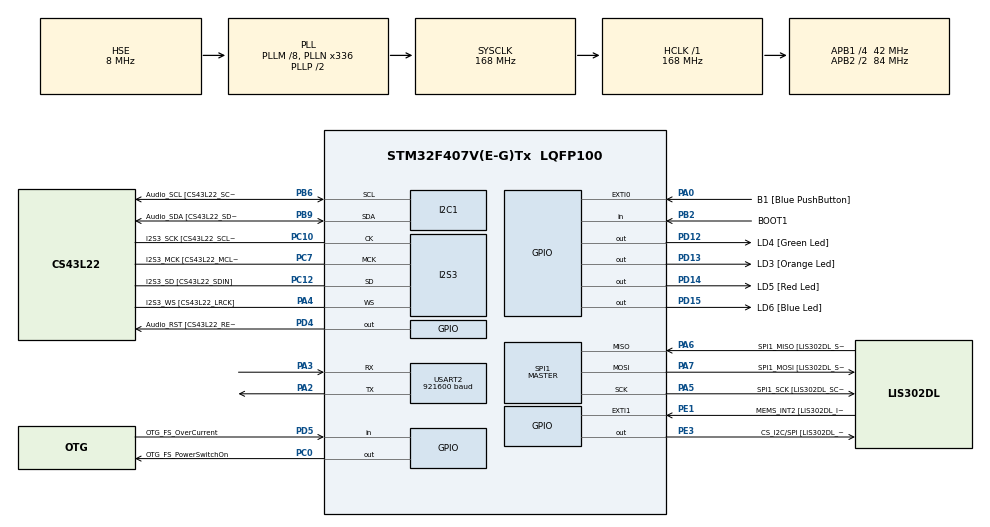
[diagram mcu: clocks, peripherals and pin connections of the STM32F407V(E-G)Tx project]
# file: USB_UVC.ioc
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I2S3.AudioFreq-Half_Duplex_Master=I2S_AUDIOFREQ_96K
I2S3.ErrorAudioFreq=-2.34 %
I2S3.ErrorAudioFreq-Half_Duplex_Master=0.8 %
I2S3.FullDuplexMode=I2S_FULLDUPLEXMODE_DISABLE
I2S3.Instance=SPI$Index
I2S3.RealAudioFreq=93.75 KHz
I2S3.RealAudioFreq-Half_Duplex_Master=96.774 KHz
I2S3.VirtualMode=I2S_MODE_MASTER
Mcu.Family=STM32F4
Mcu.Name=STM32F407V(E-G)Tx
Mcu.Package=LQFP100
NVIC.PriorityGroup=NVIC_PRIORITYGROUP_4
PA0-WKUP.GPIO_Label=B1 [Blue PushButton]
PA0-WKUP.GPIO_ModeDefaultEXTI=GPIO_MODE_EVT_RISING
PA0-WKUP.GPIO_PuPd=GPIO_NOPULL
PA0-WKUP.Signal=GPXTI0
PA10.GPIO_Label=OTG_FS_ID
PA10.GPIO_Mode=GPIO_MODE_AF_PP
PA10.GPIO_PuPd=GPIO_NOPULL
PA10.GPIO_Speed=GPIO_SPEED_FREQ_LOW
PA10.Signal=USB_OTG_FS_ID
PA11.GPIO_Label=OTG_FS_DM
PA11.GPIO_Mode=GPIO_MODE_AF_PP
PA11.GPIO_PuPd=GPIO_NOPULL
PA11.GPIO_Speed=GPIO_SPEED_FREQ_LOW
PA11.Signal=USB_OTG_FS_DM
PA12.GPIO_Label=OTG_FS_DP
PA12.GPIO_Mode=GPIO_MODE_AF_PP
PA12.GPIO_PuPd=GPIO_NOPULL
PA12.GPIO_Speed=GPIO_SPEED_FREQ_LOW
PA12.Signal=USB_OTG_FS_DP
PA13.GPIO_Label=SWDIO
PA13.Mode=Serial_Wire
PA13.Signal=SYS_JTMS-SWDIO
PA14.GPIO_Label=SWCLK
PA14.Mode=Serial_Wire
PA14.Signal=SYS_JTCK-SWCLK
PA2.Mode=Asynchronous
PA2.Signal=USART2_TX
PA3.Mode=Asynchronous
PA3.Signal=USART2_RX
PA4.GPIO_Label=I2S3_WS [CS43L22_LRCK]
PA4.GPIO_Mode=GPIO_MODE_AF_PP
PA4.GPIO_PuPd=GPIO_NOPULL
PA4.GPIO_Speed=GPIO_SPEED_FREQ_LOW
PA4.Mode=Half_Duplex_Master
PA4.Signal=I2S3_WS
PA5.GPIO_Label=SPI1_SCK [LIS302DL_SCL/SPC]
PA5.GPIO_Mode=GPIO_MODE_AF_PP
PA5.GPIO_PuPd=GPIO_NOPULL
PA5.GPIO_Speed=GPIO_SPEED_FREQ_LOW
PA5.Mode=Full_Duplex_Master
PA5.Signal=SPI1_SCK
PA6.GPIO_Label=SPI1_MISO [LIS302DL_SDO]
PA6.GPIO_Mode=GPIO_MODE_AF_PP
PA6.GPIO_PuPd=GPIO_NOPULL
PA6.GPIO_Speed=GPIO_SPEED_FREQ_LOW
PA6.Mode=Full_Duplex_Master
PA6.Signal=SPI1_MISO
PA7.GPIO_Label=SPI1_MOSI [LIS302DL_SDA/SDI/SDO]
PA7.GPIO_Mode=GPIO_MODE_AF_PP
PA7.GPIO_PuPd=GPIO_NOPULL
PA7.GPIO_Speed=GPIO_SPEED_FREQ_LOW
PA7.Mode=Full_Duplex_Master
PA7.Signal=SPI1_MOSI
PA9.GPIO_Label=VBUS_FS
PA9.GPIO_Mode=GPIO_MODE_INPUT
PA9.GPIO_PuPd=GPIO_NOPULL
PA9.Signal=USB_OTG_FS_VBUS
PB10.GPIO_Label=CLK_IN [MP45DT02_CLK]
PB10.GPIO_Mode=GPIO_MODE_AF_PP
PB10.GPIO_PuPd=GPIO_NOPULL
PB10.GPIO_Speed=GPIO_SPEED_FREQ_LOW
PB10.Signal=I2S2_CK
PB2.GPIO_Label=BOOT1
PB2.GPIO_Mode=GPIO_MODE_INPUT
PB2.GPIO_PuPd=GPIO_NOPULL
PB2.Signal=GPIO_Input
PB3.GPIO_Label=SWO
PB3.Signal=SYS_JTDO-SWO
PB6.GPIO_Label=Audio_SCL [CS43L22_SCL]
PB6.GPIO_Mode=GPIO_MODE_AF_OD
PB6.GPIO_Pu=GPIO_PULLUP
PB6.GPIO_PuPd=GPIO_NOPULL
PB6.GPIO_Speed=GPIO_SPEED_FREQ_LOW
PB6.Mode=I2C
PB6.Signal=I2C1_SCL
PB9.GPIO_Label=Audio_SDA [CS43L22_SDA]
PB9.GPIO_Mode=GPIO_MODE_AF_OD
PB9.GPIO_Pu=GPIO_PULLUP
PB9.GPIO_PuPd=GPIO_NOPULL
PB9.GPIO_Speed=GPIO_SPEED_FREQ_LOW
PB9.Mode=I2C
PB9.Signal=I2C1_SDA
PC0.GPIO_Label=OTG_FS_PowerSwitchOn
PC0.GPIO_PuPd=GPIO_NOPULL
PC0.GPIO_Speed=GPIO_SPEED_FREQ_LOW
PC0.PinState=GPIO_PIN_SET
PC0.Signal=GPIO_Output
PC10.GPIO_Label=I2S3_SCK [CS43L22_SCLK]
PC10.GPIO_Mode=GPIO_MODE_AF_PP
PC10.GPIO_PuPd=GPIO_NOPULL
PC10.GPIO_Speed=GPIO_SPEED_FREQ_LOW
PC10.Mode=Half_Duplex_Master
PC10.Signal=I2S3_CK
PC12.GPIO_Label=I2S3_SD [CS43L22_SDIN]
PC12.GPIO_Mode=GPIO_MODE_AF_PP
PC12.GPIO_PuPd=GPIO_NOPULL
PC12.GPIO_Speed=GPIO_SPEED_FREQ_LOW
PC12.Mode=Half_Duplex_Master
PC12.Signal=I2S3_SD
PC14-OSC32_IN.GPIO_Label=PC14-OSC32_IN
PC14-OSC32_IN.Mode=LSE-External-Oscillator
PC14-OSC32_IN.Signal=RCC_OSC32_IN
PC15-OSC32_OUT.GPIO_Label=PC15-OSC32_OUT
PC15-OSC32_OUT.Mode=LSE-External-Oscillator
PC15-OSC32_OUT.Signal=RCC_OSC32_OUT
PC3.GPIO_Label=PDM_OUT [MP45DT02_DOUT]
PC3.GPIO_Mode=GPIO_MODE_AF_PP
PC3.GPIO_PuPd=GPIO_NOPULL
PC3.GPIO_Speed=GPIO_SPEED_FREQ_LOW
PC3.Signal=I2S2_SD
PC7.GPIO_Label=I2S3_MCK [CS43L22_MCLK]
PC7.GPIO_Mode=GPIO_MODE_AF_PP
PC7.GPIO_PuPd=GPIO_NOPULL
PC7.GPIO_Speed=GPIO_SPEED_FREQ_LOW
PC7.Mode=Master_Clock_Activated
PC7.Signal=I2S3_MCK
PD12.GPIO_Label=LD4 [Green Led]
PD12.GPIO_PuPd=GPIO_NOPULL
PD12.GPIO_Speed=GPIO_SPEED_FREQ_LOW
PD12.Signal=GPIO_Output
PD13.GPIO_Label=LD3 [Orange Led]
PD13.GPIO_PuPd=GPIO_NOPULL
PD13.GPIO_Speed=GPIO_SPEED_FREQ_LOW
PD13.Signal=GPIO_Output
PD14.GPIO_Label=LD5 [Red Led]
PD14.GPIO_PuPd=GPIO_NOPULL
PD14.GPIO_Speed=GPIO_SPEED_FREQ_LOW
PD14.Signal=GPIO_Output
PD15.GPIO_Label=LD6 [Blue Led]
PD15.GPIO_PuPd=GPIO_NOPULL
PD15.GPIO_Speed=GPIO_SPEED_FREQ_LOW
PD15.Signal=GPIO_Output
PD4.GPIO_Label=Audio_RST [CS43L22_RESET]
PD4.GPIO_PuPd=GPIO_NOPULL
PD4.GPIO_Speed=GPIO_SPEED_FREQ_LOW
PD4.Signal=GPIO_Output
PD5.GPIO_Label=OTG_FS_OverCurrent
PD5.GPIO_Mode=GPIO_MODE_INPUT
PD5.GPIO_PuPd=GPIO_NOPULL
PD5.Signal=GPIO_Input
PE1.GPIO_Label=MEMS_INT2 [LIS302DL_INT2]
PE1.GPIO_ModeDefaultEXTI=GPIO_MODE_EVT_RISING
PE1.GPIO_PuPd=GPIO_NOPULL
PE1.Signal=GPXTI1
PE3.GPIO_Label=CS_I2C/SPI [LIS302DL_CS_I2C/SPI]
PE3.GPIO_PuPd=GPIO_NOPULL
PE3.GPIO_Speed=GPIO_SPEED_FREQ_LOW
PE3.Signal=GPIO_Output
PH0-OSC_IN.GPIO_Label=PH0-OSC_IN
PH0-OSC_IN.Mode=HSE-External-Oscillator
PH0-OSC_IN.Signal=RCC_OSC_IN
PH1-OSC_OUT.GPIO_Label=PH1-OSC_OUT
PH1-OSC_OUT.Mode=HSE-External-Oscillator
PH1-OSC_OUT.Signal=RCC_OSC_OUT
ProjectManager.HeapSize=0x2000
ProjectManager.StackSize=0x4000
ProjectManager.TargetToolchain=STM32CubeIDE
RCC.48MHZClocksFreq_Value=48000000
RCC.AHBFreq_Value=168000000
RCC.APB1CLKDivider=RCC_HCLK_DIV4
RCC.APB1Freq_Value=42000000
RCC.APB1TimFreq_Value=84000000
RCC.APB2CLKDivider=RCC_HCLK_DIV2
RCC.APB2Freq_Value=84000000
RCC.APB2TimFreq_Value=168000000
RCC.CortexFreq_Value=168000000
RCC.HCLKFreq_Value=168000000
RCC.HSE_VALUE=8000000
RCC.HSI_VALUE=16000000
RCC.PLLM=8
RCC.PLLN=336
RCC.PLLQ=7
RCC.PLLSourceVirtual=RCC_PLLSOURCE_HSE
RCC.SYSCLKFreq_VALUE=168000000
RCC.SYSCLKSource=RCC_SYSCLKSOURCE_PLLCLK
RCC.VCOOutputFreq_Value=336000000
SPI1.BaudRatePrescaler-Full_Duplex_Master=SPI_BAUDRATEPRESCALER_2
SPI1.CalculateBaudRate-Full_Duplex_Master=42.0 MBits/s
SPI1.Direction=SPI_DIRECTION_2LINES
SPI1.Mode=SPI_MODE_MASTER
SPI1.Mode-Full_Duplex_Master=SPI_MODE_MASTER
SPI1.VirtualType=VM_MASTER
USART2.BaudRate=921600
USART2.VirtualMode=VM_ASYNC
board=STM32F407G-DISC1

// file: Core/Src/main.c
/* USER CODE BEGIN Header */
/**
  ******************************************************************************
  * @file           : main.c
  * @brief          : Main program body
  ******************************************************************************
  * @attention
  *
  * Copyright (c) 2024 STMicroelectronics.
  * All rights reserved.
  *
  * This software is licensed under terms that can be found in the LICENSE file
  * in the root directory of this software component.
  * If no LICENSE file comes with this software, it is provided AS-IS.
  *
  ******************************************************************************
  */
/* USER CODE END Header */
#include "main.h"

/* USER CODE BEGIN Includes */
#include "bsp/board_api.h"
#include "tusb.h"
#include "tusb_config.h"
#include "usb_descriptors.h"
/* USER CODE END Includes */

I2C_HandleTypeDef hi2c1;

I2S_HandleTypeDef hi2s3;

SPI_HandleTypeDef hspi1;

UART_HandleTypeDef huart2;

void SystemClock_Config(void);
static void MX_GPIO_Init(void);
static void MX_I2C1_Init(void);
static void MX_I2S3_Init(void);
static void MX_SPI1_Init(void);
static void MX_USART2_UART_Init(void);

/* USER CODE BEGIN 0 */
//int _write(int file, char *ptr, int len) {
//	HAL_UART_Transmit(&huart2, (uint8_t *)ptr, len, 1000);
//	return len;
//}

#define ARRAY_SIZE(arr) (sizeof(arr) / sizeof((arr)[0]))
#define TIME_INTERVAL 1000

extern const unsigned char  picture0_yuyv[];
extern const unsigned char  picture1_yuyv[];
extern const unsigned char  picture2_yuyv[];
extern const unsigned char  picture3_yuyv[];
extern const unsigned char  picture4_yuyv[];
extern const unsigned char  picture5_yuyv[];

const unsigned char* pictures[] = {
    picture0_yuyv,
    picture1_yuyv,
    picture2_yuyv,
    picture3_yuyv,
    picture4_yuyv,
    picture5_yuyv
};

uint8_t picture_index = 0;

// Invoked when device is mounted
void tud_mount_cb(void) {
//  blink_interval_ms = BLINK_MOUNTED;
	printf("%s\r\n",__func__);
}

// Invoked when device is unmounted
void tud_umount_cb(void) {
//  blink_interval_ms = BLINK_NOT_MOUNTED;
	printf("%s\r\n",__func__);
}

void tud_suspend_cb(bool remote_wakeup_en) {
  (void) remote_wakeup_en;
//  blink_interval_ms = BLINK_SUSPENDED;
}

// Invoked when usb bus is resumed
void tud_resume_cb(void) {
	printf("%s\r\n",__func__);
//  blink_interval_ms = tud_mounted() ? BLINK_MOUNTED : BLINK_NOT_MOUNTED;
}

//--------------------------------------------------------------------+
// USB Video
//--------------------------------------------------------------------+
static unsigned frame_num = 0;
static unsigned tx_busy = 0;
static unsigned interval_ms = 1000 / FRAME_RATE;

#ifdef CFG_EXAMPLE_VIDEO_READONLY
// For mcus that does not have enough SRAM for frame buffer, we use fixed frame data.
// To further reduce the size, we use MJPEG format instead of YUY2.
#include "images.h"

#if !defined(CFG_EXAMPLE_VIDEO_DISABLE_MJPEG)
static struct {
  uint32_t       size;
  uint8_t const *buffer;
} const frames[] = {
  {color_bar_0_jpg_len, color_bar_0_jpg},
  {color_bar_1_jpg_len, color_bar_1_jpg},
  {color_bar_2_jpg_len, color_bar_2_jpg},
  {color_bar_3_jpg_len, color_bar_3_jpg},
  {color_bar_4_jpg_len, color_bar_4_jpg},
  {color_bar_5_jpg_len, color_bar_5_jpg},
  {color_bar_6_jpg_len, color_bar_6_jpg},
  {color_bar_7_jpg_len, color_bar_7_jpg},
};
#endif

#else

// YUY2 frame buffer
static uint8_t frame_buffer[FRAME_WIDTH * FRAME_HEIGHT * 16 / 8];

static void fill_color_bar(uint8_t* buffer, unsigned start_position) {
  /* EBU color bars: https://stackoverflow.com/questions/6939422 */
  static uint8_t const bar_color[8][4] = {
      /*  Y,   U,   Y,   V */
      { 235, 128, 235, 128}, /* 100% White */
      { 219,  16, 219, 138}, /* Yellow */
      { 188, 154, 188,  16}, /* Cyan */
      { 173,  42, 173,  26}, /* Green */
      {  78, 214,  78, 230}, /* Magenta */
      {  63, 102,  63, 240}, /* Red */
      {  32, 240,  32, 118}, /* Blue */
      {  16, 128,  16, 128}, /* Black */
  };
  uint8_t* p;

  /* Generate the 1st line */
  uint8_t* end = &buffer[FRAME_WIDTH * 2];
  unsigned idx = (FRAME_WIDTH / 2 - 1) - (start_position % (FRAME_WIDTH / 2));
  p = &buffer[idx * 4];
  for (unsigned i = 0; i < 8; ++i) {
    for (int j = 0; j < FRAME_WIDTH / (2 * 8); ++j) {
      memcpy(p, &bar_color[i], 4);
      p += 4;
      if (end <= p) {
        p = buffer;
      }
    }
  }

  /* Duplicate the 1st line to the others */
  p = &buffer[FRAME_WIDTH * 2];
  for (unsigned i = 1; i < FRAME_HEIGHT; ++i) {
    memcpy(p, buffer, FRAME_WIDTH * 2);
    p += FRAME_WIDTH * 2;
  }
}

#endif

void video_send_frame(void) {
  static unsigned start_ms = 0;
  static unsigned already_sent = 0;

  if (!tud_video_n_streaming(0, 0)) {
    already_sent = 0;
    frame_num = 0;
    return;
  }

  if (!already_sent) {
    already_sent = 1;
    tx_busy = 1;
    start_ms = board_millis();
#ifdef CFG_EXAMPLE_VIDEO_READONLY
    #if defined(CFG_EXAMPLE_VIDEO_DISABLE_MJPEG)
    tud_video_n_frame_xfer(0, 0, (void*)(uintptr_t)pictures[picture_index],
                           FRAME_WIDTH * FRAME_HEIGHT * 16/8);
    #else
    tud_video_n_frame_xfer(0, 0, (void*)(uintptr_t)frames[frame_num % 8].buffer, frames[frame_num % 8].size);
    #endif
#else
    fill_color_bar(frame_buffer, frame_num);
    tud_video_n_frame_xfer(0, 0, (void*) frame_buffer, FRAME_WIDTH * FRAME_HEIGHT * 16 / 8);
#endif
  }

  unsigned cur = board_millis();
  if (cur - start_ms < interval_ms) return; // not enough time
  if (tx_busy) return;
  start_ms += interval_ms;
  tx_busy = 1;

#ifdef CFG_EXAMPLE_VIDEO_READONLY
  #if defined(CFG_EXAMPLE_VIDEO_DISABLE_MJPEG)
  tud_video_n_frame_xfer(0, 0, (void*)(uintptr_t)pictures[picture_index],
                         FRAME_WIDTH * FRAME_HEIGHT * 16/8);
  #else
  tud_video_n_frame_xfer(0, 0, (void*)(uintptr_t)frames[frame_num % 8].buffer, frames[frame_num % 8].size);
  #endif
#else
  fill_color_bar(frame_buffer, frame_num);
  tud_video_n_frame_xfer(0, 0, (void*) frame_buffer, FRAME_WIDTH * FRAME_HEIGHT * 16 / 8);
#endif
}

void video_task(void* param) {
  (void) param;

  while(1) {
    video_send_frame();

    #if CFG_TUSB_OS == OPT_OS_FREERTOS
    vTaskDelay(interval_ms / portTICK_PERIOD_MS);
    #else
    return;
    #endif
  }
}

void tud_video_frame_xfer_complete_cb(uint_fast8_t ctl_idx, uint_fast8_t stm_idx) {
  (void) ctl_idx;
  (void) stm_idx;
  tx_busy = 0;
  /* flip buffer */
//  ++frame_num;
}

int tud_video_commit_cb(uint_fast8_t ctl_idx, uint_fast8_t stm_idx,
                        video_probe_and_commit_control_t const* parameters) {
  (void) ctl_idx;
  (void) stm_idx;
  /* convert unit to ms from 100 ns */
  interval_ms = parameters->dwFrameInterval / 10000;
  return VIDEO_ERROR_NONE;
}

/* USER CODE END 0 */

int main(void)
{

  /* MCU Configuration--------------------------------------------------------*/

  /* Reset of all peripherals, Initializes the Flash interface and the Systick. */
  HAL_Init();

  /* Configure the system clock */
  SystemClock_Config();

  /* Initialize all configured peripherals */
  MX_GPIO_Init();
  MX_I2C1_Init();
  MX_I2S3_Init();
  MX_SPI1_Init();
  MX_USART2_UART_Init();
  /* USER CODE BEGIN 2 */
  board_init();
  tud_init(BOARD_TUD_RHPORT);
  /* USER CODE END 2 */

  /* Infinite loop */
  /* USER CODE BEGIN WHILE */
  if (board_init_after_tusb) {
    board_init_after_tusb();
  }

  uint32_t timechangepicture=0;
  timechangepicture = HAL_GetTick() + TIME_INTERVAL;
  while (1) {
    tud_task(); // tinyusb device task
    video_task(NULL);
    if(HAL_GetTick() > timechangepicture) {
    	picture_index ++;
    	if(picture_index >= ARRAY_SIZE(pictures)) 	picture_index = 0;
    	timechangepicture = HAL_GetTick() + TIME_INTERVAL;
    }
    /* USER CODE END WHILE */

  }
}

void SystemClock_Config(void)
{
  RCC_OscInitTypeDef RCC_OscInitStruct = {0};
  RCC_ClkInitTypeDef RCC_ClkInitStruct = {0};

  /** Configure the main internal regulator output voltage
  */
  __HAL_RCC_PWR_CLK_ENABLE();
  __HAL_PWR_VOLTAGESCALING_CONFIG(PWR_REGULATOR_VOLTAGE_SCALE1);

  /** Initializes the RCC Oscillators according to the specified parameters
  * in the RCC_OscInitTypeDef structure.
  */
  RCC_OscInitStruct.OscillatorType = RCC_OSCILLATORTYPE_HSE;
  RCC_OscInitStruct.HSEState = RCC_HSE_ON;
  RCC_OscInitStruct.PLL.PLLState = RCC_PLL_ON;
  RCC_OscInitStruct.PLL.PLLSource = RCC_PLLSOURCE_HSE;
  RCC_OscInitStruct.PLL.PLLM = 8;
  RCC_OscInitStruct.PLL.PLLN = 336;
  RCC_OscInitStruct.PLL.PLLP = RCC_PLLP_DIV2;
  RCC_OscInitStruct.PLL.PLLQ = 7;
  if (HAL_RCC_OscConfig(&RCC_OscInitStruct) != HAL_OK)
  {
    Error_Handler();
  }

  /** Initializes the CPU, AHB and APB buses clocks
  */
  RCC_ClkInitStruct.ClockType = RCC_CLOCKTYPE_HCLK|RCC_CLOCKTYPE_SYSCLK
                              |RCC_CLOCKTYPE_PCLK1|RCC_CLOCKTYPE_PCLK2;
  RCC_ClkInitStruct.SYSCLKSource = RCC_SYSCLKSOURCE_PLLCLK;
  RCC_ClkInitStruct.AHBCLKDivider = RCC_SYSCLK_DIV1;
  RCC_ClkInitStruct.APB1CLKDivider = RCC_HCLK_DIV4;
  RCC_ClkInitStruct.APB2CLKDivider = RCC_HCLK_DIV2;

  if (HAL_RCC_ClockConfig(&RCC_ClkInitStruct, FLASH_LATENCY_5) != HAL_OK)
  {
    Error_Handler();
  }
}

static void MX_I2C1_Init(void)
{

  hi2c1.Instance = I2C1;
  hi2c1.Init.ClockSpeed = 100000;
  hi2c1.Init.DutyCycle = I2C_DUTYCYCLE_2;
  hi2c1.Init.OwnAddress1 = 0;
  hi2c1.Init.AddressingMode = I2C_ADDRESSINGMODE_7BIT;
  hi2c1.Init.DualAddressMode = I2C_DUALADDRESS_DISABLE;
  hi2c1.Init.OwnAddress2 = 0;
  hi2c1.Init.GeneralCallMode = I2C_GENERALCALL_DISABLE;
  hi2c1.Init.NoStretchMode = I2C_NOSTRETCH_DISABLE;
  if (HAL_I2C_Init(&hi2c1) != HAL_OK)
  {
    Error_Handler();
  }

}

static void MX_I2S3_Init(void)
{

  hi2s3.Instance = SPI3;
  hi2s3.Init.Mode = I2S_MODE_MASTER_TX;
  hi2s3.Init.Standard = I2S_STANDARD_PHILIPS;
  hi2s3.Init.DataFormat = I2S_DATAFORMAT_16B;
  hi2s3.Init.MCLKOutput = I2S_MCLKOUTPUT_ENABLE;
  hi2s3.Init.AudioFreq = I2S_AUDIOFREQ_96K;
  hi2s3.Init.CPOL = I2S_CPOL_LOW;
  hi2s3.Init.ClockSource = I2S_CLOCK_PLL;
  hi2s3.Init.FullDuplexMode = I2S_FULLDUPLEXMODE_DISABLE;
  if (HAL_I2S_Init(&hi2s3) != HAL_OK)
  {
    Error_Handler();
  }

}

static void MX_SPI1_Init(void)
{

  /* SPI1 parameter configuration*/
  hspi1.Instance = SPI1;
  hspi1.Init.Mode = SPI_MODE_MASTER;
  hspi1.Init.Direction = SPI_DIRECTION_2LINES;
  hspi1.Init.DataSize = SPI_DATASIZE_8BIT;
  hspi1.Init.CLKPolarity = SPI_POLARITY_LOW;
  hspi1.Init.CLKPhase = SPI_PHASE_1EDGE;
  hspi1.Init.NSS = SPI_NSS_SOFT;
  hspi1.Init.BaudRatePrescaler = SPI_BAUDRATEPRESCALER_2;
  hspi1.Init.FirstBit = SPI_FIRSTBIT_MSB;
  hspi1.Init.TIMode = SPI_TIMODE_DISABLE;
  hspi1.Init.CRCCalculation = SPI_CRCCALCULATION_DISABLE;
  hspi1.Init.CRCPolynomial = 10;
  if (HAL_SPI_Init(&hspi1) != HAL_OK)
  {
    Error_Handler();
  }

}

static void MX_USART2_UART_Init(void)
{

  huart2.Instance = USART2;
  huart2.Init.BaudRate = 921600;
  huart2.Init.WordLength = UART_WORDLENGTH_8B;
  huart2.Init.StopBits = UART_STOPBITS_1;
  huart2.Init.Parity = UART_PARITY_NONE;
  huart2.Init.Mode = UART_MODE_TX_RX;
  huart2.Init.HwFlowCtl = UART_HWCONTROL_NONE;
  huart2.Init.OverSampling = UART_OVERSAMPLING_16;
  if (HAL_UART_Init(&huart2) != HAL_OK)
  {
    Error_Handler();
  }

}

static void MX_GPIO_Init(void)
{
  GPIO_InitTypeDef GPIO_InitStruct = {0};

  /* GPIO Ports Clock Enable */
  __HAL_RCC_GPIOE_CLK_ENABLE();
  __HAL_RCC_GPIOC_CLK_ENABLE();
  __HAL_RCC_GPIOH_CLK_ENABLE();
  __HAL_RCC_GPIOA_CLK_ENABLE();
  __HAL_RCC_GPIOB_CLK_ENABLE();
  __HAL_RCC_GPIOD_CLK_ENABLE();

  /*Configure GPIO pin Output Level */
  HAL_GPIO_WritePin(CS_I2C_SPI_GPIO_Port, CS_I2C_SPI_Pin, GPIO_PIN_RESET);

  /*Configure GPIO pin Output Level */
  HAL_GPIO_WritePin(OTG_FS_PowerSwitchOn_GPIO_Port, OTG_FS_PowerSwitchOn_Pin, GPIO_PIN_SET);

  /*Configure GPIO pin Output Level */
  HAL_GPIO_WritePin(GPIOD, LD4_Pin|LD3_Pin|LD5_Pin|LD6_Pin
                          |Audio_RST_Pin, GPIO_PIN_RESET);

  /*Configure GPIO pin : CS_I2C_SPI_Pin */
  GPIO_InitStruct.Pin = CS_I2C_SPI_Pin;
  GPIO_InitStruct.Mode = GPIO_MODE_OUTPUT_PP;
  GPIO_InitStruct.Pull = GPIO_NOPULL;
  GPIO_InitStruct.Speed = GPIO_SPEED_FREQ_LOW;
  HAL_GPIO_Init(CS_I2C_SPI_GPIO_Port, &GPIO_InitStruct);

  /*Configure GPIO pin : OTG_FS_PowerSwitchOn_Pin */
  GPIO_InitStruct.Pin = OTG_FS_PowerSwitchOn_Pin;
  GPIO_InitStruct.Mode = GPIO_MODE_OUTPUT_PP;
  GPIO_InitStruct.Pull = GPIO_NOPULL;
  GPIO_InitStruct.Speed = GPIO_SPEED_FREQ_LOW;
  HAL_GPIO_Init(OTG_FS_PowerSwitchOn_GPIO_Port, &GPIO_InitStruct);

  /*Configure GPIO pin : PDM_OUT_Pin */
  GPIO_InitStruct.Pin = PDM_OUT_Pin;
  GPIO_InitStruct.Mode = GPIO_MODE_AF_PP;
  GPIO_InitStruct.Pull = GPIO_NOPULL;
  GPIO_InitStruct.Speed = GPIO_SPEED_FREQ_LOW;
  GPIO_InitStruct.Alternate = GPIO_AF5_SPI2;
  HAL_GPIO_Init(PDM_OUT_GPIO_Port, &GPIO_InitStruct);

  /*Configure GPIO pin : B1_Pin */
  GPIO_InitStruct.Pin = B1_Pin;
  GPIO_InitStruct.Mode = GPIO_MODE_EVT_RISING;
  GPIO_InitStruct.Pull = GPIO_NOPULL;
  HAL_GPIO_Init(B1_GPIO_Port, &GPIO_InitStruct);

  /*Configure GPIO pin : BOOT1_Pin */
  GPIO_InitStruct.Pin = BOOT1_Pin;
  GPIO_InitStruct.Mode = GPIO_MODE_INPUT;
  GPIO_InitStruct.Pull = GPIO_NOPULL;
  HAL_GPIO_Init(BOOT1_GPIO_Port, &GPIO_InitStruct);

  /*Configure GPIO pin : CLK_IN_Pin */
  GPIO_InitStruct.Pin = CLK_IN_Pin;
  GPIO_InitStruct.Mode = GPIO_MODE_AF_PP;
  GPIO_InitStruct.Pull = GPIO_NOPULL;
  GPIO_InitStruct.Speed = GPIO_SPEED_FREQ_LOW;
  GPIO_InitStruct.Alternate = GPIO_AF5_SPI2;
  HAL_GPIO_Init(CLK_IN_GPIO_Port, &GPIO_InitStruct);

  /*Configure GPIO pins : LD4_Pin LD3_Pin LD5_Pin LD6_Pin
                           Audio_RST_Pin */
  GPIO_InitStruct.Pin = LD4_Pin|LD3_Pin|LD5_Pin|LD6_Pin
                          |Audio_RST_Pin;
  GPIO_InitStruct.Mode = GPIO_MODE_OUTPUT_PP;
  GPIO_InitStruct.Pull = GPIO_NOPULL;
  GPIO_InitStruct.Speed = GPIO_SPEED_FREQ_LOW;
  HAL_GPIO_Init(GPIOD, &GPIO_InitStruct);

  /*Configure GPIO pin : VBUS_FS_Pin */
  GPIO_InitStruct.Pin = VBUS_FS_Pin;
  GPIO_InitStruct.Mode = GPIO_MODE_INPUT;
  GPIO_InitStruct.Pull = GPIO_NOPULL;
  HAL_GPIO_Init(VBUS_FS_GPIO_Port, &GPIO_InitStruct);

  /*Configure GPIO pins : OTG_FS_ID_Pin OTG_FS_DM_Pin OTG_FS_DP_Pin */
  GPIO_InitStruct.Pin = OTG_FS_ID_Pin|OTG_FS_DM_Pin|OTG_FS_DP_Pin;
  GPIO_InitStruct.Mode = GPIO_MODE_AF_PP;
  GPIO_InitStruct.Pull = GPIO_NOPULL;
  GPIO_InitStruct.Speed = GPIO_SPEED_FREQ_LOW;
  GPIO_InitStruct.Alternate = GPIO_AF10_OTG_FS;
  HAL_GPIO_Init(GPIOA, &GPIO_InitStruct);

  /*Configure GPIO pin : OTG_FS_OverCurrent_Pin */
  GPIO_InitStruct.Pin = OTG_FS_OverCurrent_Pin;
  GPIO_InitStruct.Mode = GPIO_MODE_INPUT;
  GPIO_InitStruct.Pull = GPIO_NOPULL;
  HAL_GPIO_Init(OTG_FS_OverCurrent_GPIO_Port, &GPIO_InitStruct);

  /*Configure GPIO pin : MEMS_INT2_Pin */
  GPIO_InitStruct.Pin = MEMS_INT2_Pin;
  GPIO_InitStruct.Mode = GPIO_MODE_EVT_RISING;
  GPIO_InitStruct.Pull = GPIO_NOPULL;
  HAL_GPIO_Init(MEMS_INT2_GPIO_Port, &GPIO_InitStruct);

}

void Error_Handler(void)
{
  __disable_irq();
  while (1)
  {
  }
}
